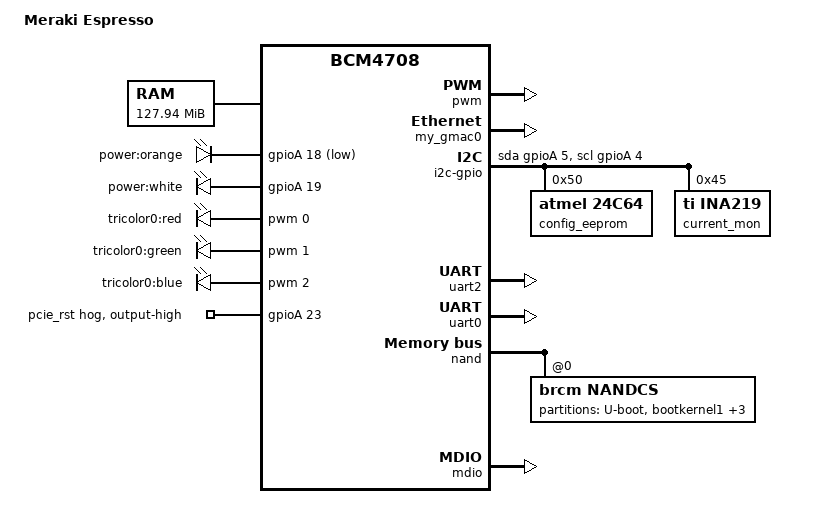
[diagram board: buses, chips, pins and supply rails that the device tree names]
/*
 *  BSD LICENSE
 *
 *  Copyright(c) 2015 Broadcom Corporation.  All rights reserved.
 *
 *  Redistribution and use in source and binary forms, with or without
 *  modification, are permitted provided that the following conditions
 *  are met:
 *
 *    * Redistributions of source code must retain the above copyright
 *      notice, this list of conditions and the following disclaimer.
 *    * Redistributions in binary form must reproduce the above copyright
 *      notice, this list of conditions and the following disclaimer in
 *      the documentation and/or other materials provided with the
 *      distribution.
 *    * Neither the name of Broadcom Corporation nor the names of its
 *      contributors may be used to endorse or promote products derived
 *      from this software without specific prior written permission.
 *
 *  THIS SOFTWARE IS PROVIDED BY THE COPYRIGHT HOLDERS AND CONTRIBUTORS
 *  "AS IS" AND ANY EXPRESS OR IMPLIED WARRANTIES, INCLUDING, BUT NOT
 *  LIMITED TO, THE IMPLIED WARRANTIES OF MERCHANTABILITY AND FITNESS FOR
 *  A PARTICULAR PURPOSE ARE DISCLAIMED. IN NO EVENT SHALL THE COPYRIGHT
 *  OWNER OR CONTRIBUTORS BE LIABLE FOR ANY DIRECT, INDIRECT, INCIDENTAL,
 *  SPECIAL, EXEMPLARY, OR CONSEQUENTIAL DAMAGES (INCLUDING, BUT NOT
 *  LIMITED TO, PROCUREMENT OF SUBSTITUTE GOODS OR SERVICES; LOSS OF USE,
 *  DATA, OR PROFITS; OR BUSINESS INTERRUPTION) HOWEVER CAUSED AND ON ANY
 *  THEORY OF LIABILITY, WHETHER IN CONTRACT, STRICT LIABILITY, OR TORT
 *  (INCLUDING NEGLIGENCE OR OTHERWISE) ARISING IN ANY WAY OUT OF THE USE
 *  OF THIS SOFTWARE, EVEN IF ADVISED OF THE POSSIBILITY OF SUCH DAMAGE.
 */

/dts-v1/;

#include "bcm4708.dtsi"

/ {
	model = "Meraki Espresso";
	compatible = "meraki,espresso";

	aliases {
		serial0 = &uart0;
	};

	chosen {
		stdout-path = "serial0:115200n8";
	};

	memory {
		reg = <0x00000000 0x07ff0000>;
	};

	leds {
		compatible = "gpio-leds";

		orange {
			label = "power:orange";
			gpios = <&gpioA 18 1>;
			default-state = "on";
		};

		white {
			label = "power:white";
			gpios = <&gpioA 19 0>;
		};
	};

	pwm: pwm {
		compatible = "brcm,iproc-pwm";
		reg = <0x18002000 0x28>;
		#pwm-cells = <2>;
		clocks = <&iprocslow>;
		chan0 {
			channel = <0>;
			active_low = <1>;
			gpios = <&gpioA 24 0>;
		};
		chan1 {
			channel = <1>;
			active_low = <1>;
			gpios = <&gpioA 25 0>;
		};
		chan2 {
			channel = <2>;
			active_low = <1>;
			gpios = <&gpioA 26 0>;
		};
	};

	pwm-leds {
		compatible = "pwm-leds";
		red {
			label = "tricolor0:red";
			pwms = <&pwm 0 50000>;
		};
		green {
			label = "tricolor0:green";
			pwms = <&pwm 1 50000>;
		};
		blue {
			label = "tricolor0:blue";
			pwms = <&pwm 2 50000>;
		};
	};

   wdt {
       compatible = "iproc-wdt";
       reg = <0x18000000 0x100>;
    };

	my_gmac0: ethernet@0x18026000 {
		compatible = "brcm,amac";
		mac-address = [ 00 18 0A 00 01 02 ];
		reg = <0x18026000 0x800>,
				<0x18112408 0x4000>,
				<0x18007000 0x1000>;
		reg-names = "amac_base", "idm_base","srab_base";
		interrupts = <GIC_SPI 149 IRQ_TYPE_LEVEL_HIGH>;
	};

	i2c-gpio {
		compatible = "i2c-gpio";
		gpios = <&gpioA 5 0 /* sda */
			 &gpioA 4 0>; /* scl */
		i2c-gpio,delay-us = <10>;   /* ~100 kHz */

		config_eeprom: at24@50 {
			compatible = "atmel,24c64";
			pagesize = <32>;
			reg = <0x50>;
		};

		current_mon: ina2xx@45 {
			compatible = "ti,ina219";
			shunt-resistor = <540000>;
			reg = <0x45>;
		};
	};

	board-data {
		compatible = "meraki,meraki-config";
		i2c-eeprom = <&config_eeprom>;
	};

	gpio-buttons {
	   button@1 {
	      gpios = <&gpioA 21 1>;
	   };
	};

	uart2 {
		compatible = "ns16550";
		reg = <0x18008000 0x100>;
		interrupts = <GIC_SPI 86 IRQ_TYPE_LEVEL_HIGH>;
		clocks = <&iprocslow>;
		clock-frequency = <125000000>;	// uartclkdiv = 2. Espresso has a higher clock rate.
		reg-shift = <2>;
		reg-offset = <0>;
		reg-io-width = <1>;
	};

	pcie2: pcie@18014000 {
                mii-bus = <&mdio>;
        };
};

&uart0 {
	status = "okay";
	clock-frequency = <62500000>;	// uartclkdiv = 2. Espresso has a higher clock rate.
};

&nand {
	status = "okay";

	nandcs@0 {
		compatible = "brcm,nandcs";
		reg = <0>;
		nand-on-flash-bbt;

		#address-cells = <1>;
		#size-cells = <1>;

		nand-ecc-mode = "hw";
		nand-bus-width = <8>;
		nand-ecc-strength = <8>;
		nand-ecc-step-size = <512>;

		brcm,nand-oob-sector-size = <16>;

		partition@0 {
			label = "U-boot";
			reg = <0x00000000 0x100000>;
		};

		partition@1 {
			label = "bootkernel1";
			reg = <0x100000 0x300000>;
		};

		partition@2 {
			label = "senao_nvram";
			reg = <0x400000 0x100000>;
		};

		partition@3 {
			label = "bootkernel2";
			reg = <0x500000 0x300000>;
		};

		partition@4 {
			label = "ubi";
			reg = <0x800000 0x7780000>;
		};
	};
};

&gpioA {
    pcie_rst {
        gpio-hog;
        gpios = <23 GPIO_ACTIVE_HIGH>;
        output-high;
        line-name = "pcie_rst";
    };
};

&mdio {
    status = "okay";
};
